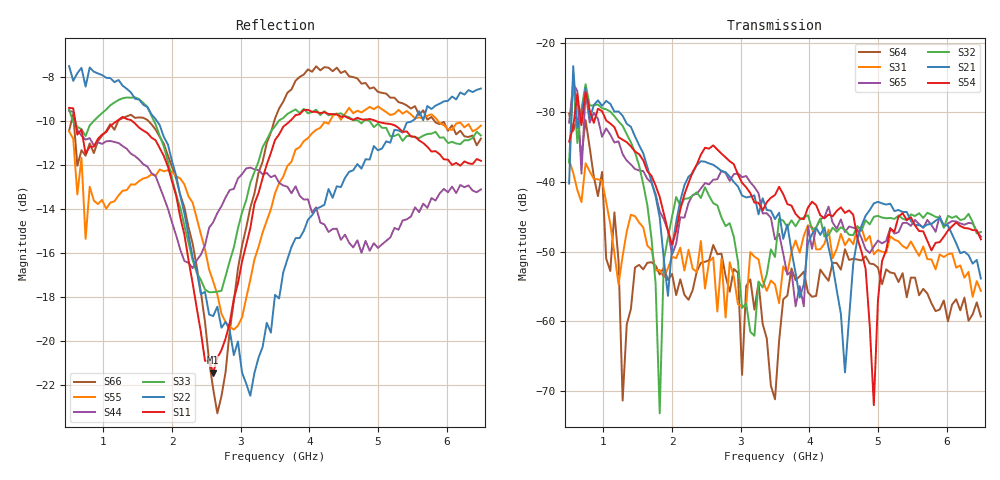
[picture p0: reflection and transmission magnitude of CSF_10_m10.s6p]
!Keysight Technologies,M9804A,MY58100912,A.14.10.03
!Date: Thursday, April 27, 2023 10:28:33
!Correction: S11(C  6-Port  )
!S12(C  6-Port  )
!S13(C  6-Port  )
!S14(C  6-Port  )
!S15(C  6-Port  )
!S16(C  6-Port  )
!S21(C  6-Port  )
!S22(C  6-Port  )
!S23(C  6-Port  )
!S24(C  6-Port  )
!S25(C  6-Port  )
!S26(C  6-Port  )
!S31(C  6-Port  )
!S32(C  6-Port  )
!S33(C  6-Port  )
!S34(C  6-Port  )
!S35(C  6-Port  )
!S36(C  6-Port  )
!S41(C  6-Port  )
!S42(C  6-Port  )
!S43(C  6-Port  )
!S44(C  6-Port  )
!S45(C  6-Port  )
!S46(C  6-Port  )
!S51(C  6-Port  )
!S52(C  6-Port  )
!S53(C  6-Port  )
!S54(C  6-Port  )
!S55(C  6-Port  )
!S56(C  6-Port  )
!S61(C  6-Port  )
!S62(C  6-Port  )
!S63(C  6-Port  )
!S64(C  6-Port  )
!S65(C  6-Port  )
!S66(C  6-Port  )
!S6P File: Measurement: :
# Hz S  RI  R 50
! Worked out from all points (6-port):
!   101 points, 500 MHz to 6.5 GHz, reference 50 ohm
!   strongest paths, dB at 500 MHz, 2 GHz, 3.5 GHz, 5 GHz, 6.5 GHz:
!     S54: -34.2, -49.0, -41.8, -57.0, -48.2
!     S21: -40.2, -49.4, -45.3, -42.8, -53.8
!     S32: -37.2, -45.0, -50.8, -44.8, -47.2
!     S65: -31.5, -50.4, -48.2, -48.4, -47.8
!     S31: -36.8, -50.7, -54.7, -49.7, -55.6
!     S64: -30.1, -53.2, -71.2, -52.3, -59.3
!   lowest |S11| = -21.5 dB at 2.6 GHz (marker M1), VSWR 1.18, Z = 42.5 + j2.23 ohm
!   |S11| at or under -10 dB: 589.3 MHz to 1.194 GHz (604.9 MHz wide, 67.8 % of centre); 1.419 GHz to 3.717 GHz (2.298 GHz wide, 89.5 % of centre); 4.975 GHz to end of sweep
